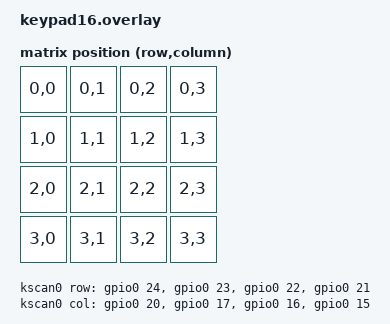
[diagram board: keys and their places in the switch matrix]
#include <physical_layouts.dtsi>
#include <dt-bindings/zmk/matrix_transform.h>

/ {
    chosen {
        zmk,kscan = &kscan0;
        zmk,physical-layout = &default_layout;
    };

    kscan0: kscan {
        compatible = "zmk,kscan-gpio-matrix";
        diode-direction = "col2row";

        row-gpios = <&gpio0 24 (GPIO_ACTIVE_HIGH | GPIO_PULL_DOWN)>,
                    <&gpio0 23 (GPIO_ACTIVE_HIGH | GPIO_PULL_DOWN)>,
                    <&gpio0 22 (GPIO_ACTIVE_HIGH | GPIO_PULL_DOWN)>,
                    <&gpio0 21 (GPIO_ACTIVE_HIGH | GPIO_PULL_DOWN)>;

        col-gpios = <&gpio0 20 GPIO_ACTIVE_HIGH>,
                    <&gpio0 17 GPIO_ACTIVE_HIGH>,
                    <&gpio0 16 GPIO_ACTIVE_HIGH>,
                    <&gpio0 15 GPIO_ACTIVE_HIGH>;
    };

    default_transform: keymap_transform_0 {
        compatible = "zmk,matrix-transform";
        columns = <4>;
        rows = <4>;
        map = <
            RC(0,0) RC(0,1) RC(0,2) RC(0,3)
            RC(1,0) RC(1,1) RC(1,2) RC(1,3)
            RC(2,0) RC(2,1) RC(2,2) RC(2,3)
            RC(3,0) RC(3,1) RC(3,2) RC(3,3)
        >;
    };

    default_layout: default_layout {
        compatible = "zmk,physical-layout";
        display-name = "Default Layout";
        transform = <&default_transform>;
        kscan = <&kscan0>;

        keys // w h x y rot rx ry
            = <&key_physical_attrs 100 100   0   0 0 0 0>
            , <&key_physical_attrs 100 100 100   0 0 0 0>
            , <&key_physical_attrs 100 100 200   0 0 0 0>
            , <&key_physical_attrs 100 100 300   0 0 0 0>
            , <&key_physical_attrs 100 100   0 100 0 0 0>
            , <&key_physical_attrs 100 100 100 100 0 0 0>
            , <&key_physical_attrs 100 100 200 100 0 0 0>
            , <&key_physical_attrs 100 100 300 100 0 0 0>
            , <&key_physical_attrs 100 100   0 200 0 0 0>
            , <&key_physical_attrs 100 100 100 200 0 0 0>
            , <&key_physical_attrs 100 100 200 200 0 0 0>
            , <&key_physical_attrs 100 100 300 200 0 0 0>
            , <&key_physical_attrs 100 100   0 300 0 0 0>
            , <&key_physical_attrs 100 100 100 300 0 0 0>
            , <&key_physical_attrs 100 100 200 300 0 0 0>
            , <&key_physical_attrs 100 100 300 300 0 0 0>
        ;
    };
};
